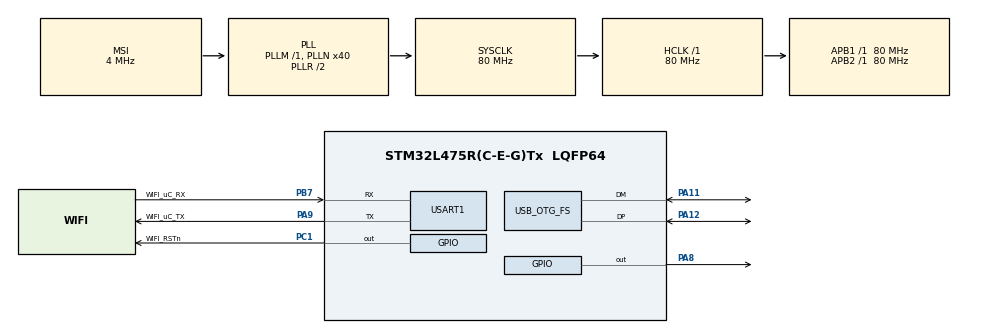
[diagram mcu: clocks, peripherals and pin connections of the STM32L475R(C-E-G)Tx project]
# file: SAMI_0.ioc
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Mcu.Family=STM32L4
Mcu.Name=STM32L475R(C-E-G)Tx
Mcu.Package=LQFP64
NVIC.OTG_FS_IRQn=true\:0\:0\:false\:false\:true\:false\:true
NVIC.PriorityGroup=NVIC_PRIORITYGROUP_4
NVIC.TIM6_DAC_IRQn=true\:0\:0\:false\:false\:true\:true\:true
NVIC.USART1_IRQn=true\:2\:0\:true\:false\:true\:true\:true
PA11.Mode=Host_Only
PA11.Signal=USB_OTG_FS_DM
PA12.Mode=Host_Only
PA12.Signal=USB_OTG_FS_DP
PA13\ (JTMS-SWDIO).Mode=Serial_Wire
PA13\ (JTMS-SWDIO).Signal=SYS_JTMS-SWDIO
PA14\ (JTCK-SWCLK).Mode=Serial_Wire
PA14\ (JTCK-SWCLK).Signal=SYS_JTCK-SWCLK
PA8.Signal=GPIO_Output
PA9.GPIO_Label=WIFI_uC_TX
PA9.Mode=Asynchronous
PA9.Signal=USART1_TX
PB7.GPIO_FM7=I2C_FASTMODEPLUS_PB7
PB7.GPIO_Label=WIFI_uC_RX
PB7.Mode=Asynchronous
PB7.Signal=USART1_RX
PC1.GPIO_Label=WIFI_RSTn
PC1.GPIO_Speed=GPIO_SPEED_FREQ_HIGH
PC1.PinState=GPIO_PIN_SET
PC1.Signal=GPIO_Output
ProjectManager.HeapSize=0x5000
ProjectManager.StackSize=0x800
ProjectManager.TargetToolchain=STM32CubeIDE
RCC.ADCFreq_Value=48000000
RCC.AHBFreq_Value=80000000
RCC.APB1Freq_Value=80000000
RCC.APB1TimFreq_Value=80000000
RCC.APB2Freq_Value=80000000
RCC.APB2TimFreq_Value=80000000
RCC.CortexFreq_Value=80000000
RCC.HCLKFreq_Value=80000000
RCC.HSE_VALUE=8000000
RCC.HSI_VALUE=16000000
RCC.LSE_VALUE=32768
RCC.MSI_VALUE=4000000
RCC.PLLN=40
RCC.PLLSAI1N=24
RCC.SYSCLKFreq_VALUE=80000000
RCC.SYSCLKSource=RCC_SYSCLKSOURCE_PLLCLK
RCC.USBFreq_Value=48000000
RCC.VCOOutputFreq_Value=160000000
TIM6.Period=2
TIM6.Prescaler=26667
USART1.VirtualMode-Asynchronous=VM_ASYNC
USB_HOST.BSP.number=1
USB_HOST.USBH_HandleTypeDef=hUsbHostFS
USB_HOST.VirtualModeFS=Msc
USB_HOST0.BSP.STBoard=false
USB_HOST0.BSP.api=Unknown
USB_HOST0.BSP.i2caddr=0
USB_HOST0.BSP.instance=PA8
USB_HOST0.BSP.ip=GPIO
USB_HOST0.BSP.mode=Output
USB_HOST0.BSP.name=Drive_VBUS_FS
USB_HOST0.BSP.solution=PA8
USB_OTG_FS.VirtualMode=Host_Only
USB_OTG_FS.phy_itface=HCD_PHY_EMBEDDED
VP_FATFS_VS_USB.Mode=USB
VP_TIM6_VS_ClockSourceINT.Mode=Enable_Timer
VP_USB_HOST_VS_USB_HOST_MSC_FS.Mode=MSC_FS
board=custom

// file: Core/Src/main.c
/* USER CODE BEGIN Header */
/**
  ******************************************************************************
  * @file           : main.c
  * @brief          : Main program body
  ******************************************************************************
  * @attention
  *
  * <h2><center>&copy; Copyright (c) 2020 STMicroelectronics.
  * All rights reserved.</center></h2>
  *
  * This software component is licensed by ST under BSD 3-Clause license,
  * the "License"; You may not use this file except in compliance with the
  * License. You may obtain a copy of the License at:
  *                        opensource.org/licenses/BSD-3-Clause
  *
  ******************************************************************************
  */
/* USER CODE END Header */

#include "main.h"
#include "fatfs.h"
#include "usb_host.h"

/* USER CODE BEGIN Includes */
#include <esp8266.h>
#include <esp8266_ll_template.h>
#include <stdio.h>
/* USER CODE END Includes */

TIM_HandleTypeDef htim6;
UART_HandleTypeDef huart1;
char writeValue[60];
uint8_t key, cnt;
int16_t operator1, operator2, result;
char operatorChar[5];
uint8_t transmitir;
uint32_t bytes_read;
uint8_t transmitido_anterior;
uint8_t lernovo;
uint8_t read_image[2048];
uint8_t opChoice = 0;
ESP8266_t ESP8266;
ESP8266_APConfig_t ESP8266_config;
ESP8266_Connection_t* ConnectionGlobal;
volatile StateMachine_TypeDef main_state;
uint8_t rx_index = 0;
uint8_t rx_data;
uint8_t rx_buffer[392];
/* USER CODE END PV */

void SystemClock_Config(void);
static void MX_GPIO_Init(void);
static void MX_USART1_UART_Init(void);
static void MX_TIM6_Init(void);
void MX_USB_HOST_Process(void);

/* USER CODE BEGIN 0 */

void HAL_UART_RxCpltCallback(UART_HandleTypeDef *huart)
{
	if(rx_index == 0)
	{
		for(int i=0; i<392; i++)
		{
			rx_buffer[i] = 0;
		}
	}
	rx_buffer[rx_index++] = rx_data;
	ESP8266_DataReceived(&rx_data, 1);
	HAL_UART_Receive_IT(&huart1, &rx_data, 1);
	__NOP();
}

/* USER CODE END 0 */

int main(void)
{

  /* MCU Configuration--------------------------------------------------------*/

  /* Reset of all peripherals, Initializes the Flash interface and the Systick. */
	HAL_Init();

  /* Configure the system clock */
	SystemClock_Config();

  /* Initialize all configured peripherals */
	MX_GPIO_Init();
	MX_FATFS_Init();
	MX_USB_HOST_Init();
	MX_USART1_UART_Init();
	MX_TIM6_Init();
  /* USER CODE BEGIN 2 */

	HAL_UART_Receive_IT(&huart1, &rx_data, 1);
	HAL_TIM_Base_Start_IT(&htim6);

	while (ESP8266_Init(&ESP8266, 115200) != ESP_OK);		//Inicializar módulo ESP8266
	HAL_Delay(2000);

	ESP8266_WifiConnect(&ESP8266, "SAMI", "SAMI");	// Conectar no roteador wifi
	HAL_Delay(2000);
	ESP8266_WaitReady(&ESP8266);

	main_state = INIT_ESP_STATE;
  /* USER CODE END 2 */

  /* Infinite loop */
  /* USER CODE BEGIN WHILE */
  while (1)
  {
	  MX_USB_HOST_Process();
    /* USER CODE END WHILE */
    /* USER CODE BEGIN 3 */
	  cam_image();
	  ESP8266_Update(&ESP8266);	//atualizar a stack tcp/ip constantemente

	  switch (main_state)
	  {
			case INIT_ESP_STATE:
			{
				/* Wait till finish */
				ESP8266_WaitReady(&ESP8266);
				while (ESP8266_StartClientConnectionTCP(&ESP8266,"SAMI","192.168.1.121",8080,NULL)!= ESP_OK);
				/* Wait till finish */
				ESP8266_WaitReady(&ESP8266);

				main_state = SEND_DATA_STATE;
			}
			break;

			case SEND_DATA_STATE:
			{
				//indica que o anterior nao foi enviado
				if((rx_buffer[rx_index-7] =='E')&&(rx_buffer[rx_index-6] =='R')&&(rx_buffer[rx_index-5] =='R')&&(rx_buffer[rx_index-4] =='O')&&(rx_buffer[rx_index-3] =='R'))
				{
					transmitido_anterior = 0;
					HAL_Delay(20);
				}
				if(transmitir)	//pode transmitir?
				{
					ESP8266_WaitReady(&ESP8266);
					while (ESP8266_RequestSendData(&ESP8266,ConnectionGlobal)!= ESP_OK);	//requisitar autorizacao de envio de dados
					ESP8266_WaitReady(&ESP8266);

					//request send data retornou fail?
					if((rx_buffer[rx_index-6] =='F') && (rx_buffer[rx_index-5] == 'A') && (rx_buffer[rx_index-4] == 'I') && (rx_buffer[rx_index-3] == 'L') && (rx_buffer[rx_index-20] == '0'))	//se requisição falhou e não recebeu nenhum byte
					{
						transmitido_anterior = 0;	//nao transmitiu os dados atuais
						lernovo = 0;				//nao atualizar o buffer antes de ser enviado
					}
					else
					{
						ESP8266_LL_USARTSend(&read_image, bytes_read);	//enviar dados
						ESP8266_WaitReady(&ESP8266);
						ESP8266_LL_USARTSend("\r\n", 2);				//concluir envio de dados
						ESP8266_WaitReady(&ESP8266);
						transmitido_anterior = 1;						//transmitido com sucesso
						lernovo = 1;									//solicitar atualizacao de buffer
					}
				}
				HAL_Delay(20);
				main_state = SEND_DATA_STATE;
			}
			break;

			case DEINIT_ESP_STATE:
			{
				ESP8266_WaitReady(&ESP8266);
				while (ESP8266_CloseAllConnections(&ESP8266)!= ESP_OK);
				ESP8266_WaitReady(&ESP8266);
				main_state = INIT_ESP_STATE;
			}
				break;
			default:
				break;
	  }
  }
  /* USER CODE END 3 */
}

void SystemClock_Config(void)
{
  RCC_OscInitTypeDef RCC_OscInitStruct = {0};
  RCC_ClkInitTypeDef RCC_ClkInitStruct = {0};
  RCC_PeriphCLKInitTypeDef PeriphClkInit = {0};

  /** Initializes the CPU, AHB and APB busses clocks
  */
  RCC_OscInitStruct.OscillatorType = RCC_OSCILLATORTYPE_MSI;
  RCC_OscInitStruct.MSIState = RCC_MSI_ON;
  RCC_OscInitStruct.MSICalibrationValue = 0;
  RCC_OscInitStruct.MSIClockRange = RCC_MSIRANGE_6;
  RCC_OscInitStruct.PLL.PLLState = RCC_PLL_ON;
  RCC_OscInitStruct.PLL.PLLSource = RCC_PLLSOURCE_MSI;
  RCC_OscInitStruct.PLL.PLLM = 1;
  RCC_OscInitStruct.PLL.PLLN = 40;
  RCC_OscInitStruct.PLL.PLLP = RCC_PLLP_DIV7;
  RCC_OscInitStruct.PLL.PLLQ = RCC_PLLQ_DIV2;
  RCC_OscInitStruct.PLL.PLLR = RCC_PLLR_DIV2;
  if (HAL_RCC_OscConfig(&RCC_OscInitStruct) != HAL_OK)
  {
    Error_Handler();
  }
  /** Initializes the CPU, AHB and APB busses clocks
  */
  RCC_ClkInitStruct.ClockType = RCC_CLOCKTYPE_HCLK|RCC_CLOCKTYPE_SYSCLK
                              |RCC_CLOCKTYPE_PCLK1|RCC_CLOCKTYPE_PCLK2;
  RCC_ClkInitStruct.SYSCLKSource = RCC_SYSCLKSOURCE_PLLCLK;
  RCC_ClkInitStruct.AHBCLKDivider = RCC_SYSCLK_DIV1;
  RCC_ClkInitStruct.APB1CLKDivider = RCC_HCLK_DIV1;
  RCC_ClkInitStruct.APB2CLKDivider = RCC_HCLK_DIV1;

  if (HAL_RCC_ClockConfig(&RCC_ClkInitStruct, FLASH_LATENCY_4) != HAL_OK)
  {
    Error_Handler();
  }
  PeriphClkInit.PeriphClockSelection = RCC_PERIPHCLK_USART1|RCC_PERIPHCLK_USB;
  PeriphClkInit.Usart1ClockSelection = RCC_USART1CLKSOURCE_PCLK2;
  PeriphClkInit.UsbClockSelection = RCC_USBCLKSOURCE_PLLSAI1;
  PeriphClkInit.PLLSAI1.PLLSAI1Source = RCC_PLLSOURCE_MSI;
  PeriphClkInit.PLLSAI1.PLLSAI1M = 1;
  PeriphClkInit.PLLSAI1.PLLSAI1N = 24;
  PeriphClkInit.PLLSAI1.PLLSAI1P = RCC_PLLP_DIV7;
  PeriphClkInit.PLLSAI1.PLLSAI1Q = RCC_PLLQ_DIV2;
  PeriphClkInit.PLLSAI1.PLLSAI1R = RCC_PLLR_DIV2;
  PeriphClkInit.PLLSAI1.PLLSAI1ClockOut = RCC_PLLSAI1_48M2CLK;
  if (HAL_RCCEx_PeriphCLKConfig(&PeriphClkInit) != HAL_OK)
  {
    Error_Handler();
  }
  /** Configure the main internal regulator output voltage
  */
  if (HAL_PWREx_ControlVoltageScaling(PWR_REGULATOR_VOLTAGE_SCALE1) != HAL_OK)
  {
    Error_Handler();
  }
}

static void MX_TIM6_Init(void)
{

  TIM_MasterConfigTypeDef sMasterConfig = {0};

  htim6.Instance = TIM6;
  htim6.Init.Prescaler = 26667;
  htim6.Init.CounterMode = TIM_COUNTERMODE_UP;
  htim6.Init.Period = 2;
  htim6.Init.AutoReloadPreload = TIM_AUTORELOAD_PRELOAD_DISABLE;
  if (HAL_TIM_Base_Init(&htim6) != HAL_OK)
  {
    Error_Handler();
  }
  sMasterConfig.MasterOutputTrigger = TIM_TRGO_RESET;
  sMasterConfig.MasterSlaveMode = TIM_MASTERSLAVEMODE_DISABLE;
  if (HAL_TIMEx_MasterConfigSynchronization(&htim6, &sMasterConfig) != HAL_OK)
  {
    Error_Handler();
  }

}

static void MX_USART1_UART_Init(void)
{

  huart1.Instance = USART1;
  huart1.Init.BaudRate = 115200;
  huart1.Init.WordLength = UART_WORDLENGTH_8B;
  huart1.Init.StopBits = UART_STOPBITS_1;
  huart1.Init.Parity = UART_PARITY_NONE;
  huart1.Init.Mode = UART_MODE_TX_RX;
  huart1.Init.HwFlowCtl = UART_HWCONTROL_NONE;
  huart1.Init.OverSampling = UART_OVERSAMPLING_16;
  huart1.Init.OneBitSampling = UART_ONE_BIT_SAMPLE_DISABLE;
  huart1.AdvancedInit.AdvFeatureInit = UART_ADVFEATURE_NO_INIT;
  if (HAL_UART_Init(&huart1) != HAL_OK)
  {
    Error_Handler();
  }

}

static void MX_GPIO_Init(void)
{
  GPIO_InitTypeDef GPIO_InitStruct = {0};

  /* GPIO Ports Clock Enable */
  __HAL_RCC_GPIOC_CLK_ENABLE();
  __HAL_RCC_GPIOA_CLK_ENABLE();
  __HAL_RCC_GPIOB_CLK_ENABLE();

  /*Configure GPIO pin Output Level */
  HAL_GPIO_WritePin(WIFI_RSTn_GPIO_Port, WIFI_RSTn_Pin, GPIO_PIN_SET);

  /*Configure GPIO pin Output Level */
  HAL_GPIO_WritePin(GPIOA, GPIO_PIN_8, GPIO_PIN_RESET);

  /*Configure GPIO pin : WIFI_RSTn_Pin */
  GPIO_InitStruct.Pin = WIFI_RSTn_Pin;
  GPIO_InitStruct.Mode = GPIO_MODE_OUTPUT_PP;
  GPIO_InitStruct.Pull = GPIO_NOPULL;
  GPIO_InitStruct.Speed = GPIO_SPEED_FREQ_HIGH;
  HAL_GPIO_Init(WIFI_RSTn_GPIO_Port, &GPIO_InitStruct);

  /*Configure GPIO pin : PA8 */
  GPIO_InitStruct.Pin = GPIO_PIN_8;
  GPIO_InitStruct.Mode = GPIO_MODE_OUTPUT_PP;
  GPIO_InitStruct.Pull = GPIO_NOPULL;
  GPIO_InitStruct.Speed = GPIO_SPEED_FREQ_LOW;
  HAL_GPIO_Init(GPIOA, &GPIO_InitStruct);

}

/* USER CODE BEGIN 4 */
void HAL_UART_TxCpltCallback(UART_HandleTypeDef *huart)
{
	__NOP();
}

//a cada 1 ms
void HAL_TIM_PeriodElapsedCallback(TIM_HandleTypeDef *htim)
{
    ESP8266_TimeUpdate(&ESP8266, 1);
}

/************************************/
/*           ESP CALLBACKS          */
/************************************/
/* Called when ready string detected */
void ESP8266_Callback_DeviceReady(ESP8266_t* ESP8266) {
//	printf("Device is ready\r\n");
}

/* Called when watchdog reset on ESP8266 is detected */
void ESP8266_Callback_WatchdogReset(ESP8266_t* ESP8266) {
//	printf("Watchdog reset detected!\r\n");
}

/* Called when we are disconnected from WIFI */
void ESP8266_Callback_WifiDisconnected(ESP8266_t* ESP8266) {
//	printf("Wifi is disconnected!\r\n");
}

void ESP8266_Callback_WifiConnected(ESP8266_t* ESP8266) {
//	printf("Wifi is connected!\r\n");
}

void ESP8266_Callback_WifiConnectFailed(ESP8266_t* ESP8266) {
//	printf("Connection to wifi network has failed. Reason %d\r\n", ESP8266->WifiConnectError);
}

void ESP8266_Callback_WifiGotIP(ESP8266_t* ESP8266) {
//	printf("Grabbing IP status: %d\r\n", ESP8266_GetSTAIP(ESP8266));
}

void ESP8266_Callback_WifiIPSet(ESP8266_t* ESP8266) {
	/* We have STA IP set (IP set by router we are connected to) */
//	printf("We have valid IP address: %d.%d.%d.%d\r\n", ESP8266->STAIP[0], ESP8266->STAIP[1], ESP8266->STAIP[2], ESP8266->STAIP[3]);
}

void ESP8266_Callback_DHCPTimeout(ESP8266_t* ESP8266) {
//	printf("DHCP timeout!\r\n");
}

void ESP8266_Callback_WifiDetected(ESP8266_t* ESP8266, ESP8266_APs_t* ESP8266_AP) {
//	uint8_t i = 0;
//
//	/* Print number of detected stations */
//	printf("We have detected %d AP stations\r\n", ESP8266_AP->Count);
//
//	/* Print each AP */
//	for (i = 0; i < ESP8266_AP->Count; i++) {
//		/* Print SSID for each AP */
//		printf("%2d: %s\r\n", i, ESP8266_AP->AP[i].SSID);
//	}
}

/************************************/
/*         CLIENT CALLBACKS         */
/************************************/
void ESP8266_Callback_ClientConnectionConnected(ESP8266_t* ESP8266, ESP8266_Connection_t* Connection) {
//	/* We are connected to external server */
//	printf(writeValue, "Client connected to server! Connection name: %s\r\n", Connection->Name);
//
//	ConnectionGlobal = Connection;
//	/* We are connected to server, request to sent header data to server */
//	ESP8266_RequestSendData(ESP8266, Connection);
}

/* Called when client connection fails to server */
void ESP8266_Callback_ClientConnectionError(ESP8266_t* ESP8266, ESP8266_Connection_t* Connection) {
	/* Fail with connection to server */
//	printf("An error occurred when trying to connect on connection: %d\r\n", Connection->Number);
}

/* Called when data are ready to be sent to server */
uint16_t ESP8266_Callback_ClientConnectionSendData(ESP8266_t* ESP8266, ESP8266_Connection_t* Connection, char* Buffer, uint16_t max_buffer_size) {

//	/* Format data to sent to server */
//
//
//
//	sprintf(Buffer, "Msg Teste: %d", msgCnt);
//	strcat(Buffer, "\r\n");
//
//	msgCnt++;
//	/* Return length of buffer */
//	return strlen(Buffer);

}

/* Called when data are send successfully */
void ESP8266_Callback_ClientConnectionDataSent(ESP8266_t* ESP8266, ESP8266_Connection_t* Connection) {
//	printf("Data successfully sent as client!\r\n");
}

/* Called when error returned trying to sent data */
void ESP8266_Callback_ClientConnectionDataSentError(ESP8266_t* ESP8266, ESP8266_Connection_t* Connection) {

//	printf("Error while sending data on connection %d!\r\n", Connection->Number);

}

void ESP8266_Callback_ClientConnectionDataReceived(ESP8266_t* ESP8266, ESP8266_Connection_t* Connection, char* Buffer) {
//	/* Data received from server back to client */
//	printf("Data received from server on connection: %s; Number of bytes received: %u; %u / %u;\r\n", Connection->Name, Connection->BytesReceived, Connection->TotalBytesReceived, Connection->ContentLength);
//	printf("Message received: \r\n");
//	printf("%s \r\n",Connection->Data);
}

/* Called when connection is closed */
void ESP8266_Callback_ClientConnectionClosed(ESP8266_t* ESP8266, ESP8266_Connection_t* Connection) {
//	printf("Client connection closed, connection: %d; Total bytes received: %u; Content-Length header: %u\r\n", Connection->Number, Connection->TotalBytesReceived, Connection->ContentLength);
}

/* Called when timeout is reached on connection to server */
void ESP8266_Callback_ClientConnectionTimeout(ESP8266_t* ESP8266, ESP8266_Connection_t* Connection) {
//	printf("Timeout reached on connection: %d\r\n", Connection->Number);
}
/* USER CODE END 4 */

void Error_Handler(void)
{
}

/************************ (C) COPYRIGHT STMicroelectronics *****END OF FILE****/
